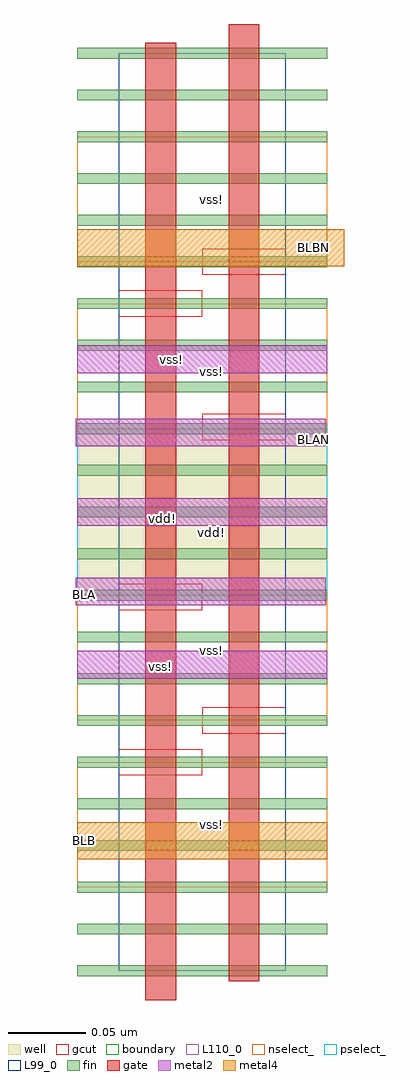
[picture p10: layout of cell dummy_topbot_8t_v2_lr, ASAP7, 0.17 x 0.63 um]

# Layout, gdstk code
import gdstk
lib = gdstk.Library(unit=1e-6, precision=2.5e-10)
def R(c, l, rs):  # rectangles x0, y0, x1, y1
    for r in rs: c.add(gdstk.rectangle(r[:2], r[2:], *l))
def A(c, l, x, y, w, h, nx, ny, dx, dy):  # array of equal rectangles
    R(c, l, [(x+i*dx, y+j*dy, x+i*dx+w, y+j*dy+h) for i in range(nx) for j in range(ny)])
well = (1, 0)
fin = (2, 0)
gate = (7, 0)
gcut = (10, 0)
nselect_ = (12, 0)
pselect_ = (13, 0)
metal2 = (20, 0)
metal4 = (40, 0)
L99_0 = (99, 0)
boundary = (100, 0)
L110_0 = (110, 0)

dummy_topbot_8t_v2_lr = lib.new_cell('dummy_topbot_8t_v2_lr')
R(dummy_topbot_8t_v2_lr, well, [(-0.027,0.081,0.135,0.189)])
A(dummy_topbot_8t_v2_lr, fin, -0.027, -0.1655, 0.162, 0.007, 1, 23, 0, 0.027)
R(dummy_topbot_8t_v2_lr, gate, [(0.017,-0.181,0.037,0.439), (0.071,-0.169,0.091,0.451)])
R(dummy_topbot_8t_v2_lr, gcut, [(0,-0.0355,0.054,-0.0185), (0.054,-0.0085,0.108,0.0085), (0,0.0715,0.054,0.0885), (0.054,0.1815,0.108,0.1985), (0,0.2615,0.054,0.2785), (0.054,0.2885,0.108,0.3055)])
R(dummy_topbot_8t_v2_lr, nselect_, [(-0.027,-0.108,0.135,-0.027), (-0.027,0,0.135,0.081), (-0.027,0.189,0.135,0.27), (-0.027,0.297,0.135,0.378)])
R(dummy_topbot_8t_v2_lr, pselect_, [(-0.027,0.081,0.135,0.189)])
A(dummy_topbot_8t_v2_lr, metal2, -0.027, 0.027, 0.162, 0.018, 1, 3, 0, 0.099)
R(dummy_topbot_8t_v2_lr, metal2, [(-0.028,0.0745,0.134,0.0925), (-0.028,0.1775,0.134,0.1955)])
R(dummy_topbot_8t_v2_lr, metal4, [(-0.027,-0.09,0.135,-0.066), (-0.027,0.294,0.146,0.318)])
R(dummy_topbot_8t_v2_lr, L99_0, [(0,-0.162,0.108,0.432)])
R(dummy_topbot_8t_v2_lr, boundary, [(0,-0.162,0.108,0.432)])
R(dummy_topbot_8t_v2_lr, L110_0, [(0,-0.162,0.108,0.432)])
dummy_topbot_8t_v2_lr.add(gdstk.Label('vss!', (0.027,0.035), layer=20, texttype=251))
dummy_topbot_8t_v2_lr.add(gdstk.Label('vss!', (0.034,0.234), layer=20, texttype=251))
dummy_topbot_8t_v2_lr.add(gdstk.Label('vdd!', (0.0285,0.1305), layer=20, texttype=251))
dummy_topbot_8t_v2_lr.add(gdstk.Label('BLA', (-0.022,0.0815), layer=20, texttype=251))
dummy_topbot_8t_v2_lr.add(gdstk.Label('BLAN', (0.126,0.182), layer=20, texttype=251))
dummy_topbot_8t_v2_lr.add(gdstk.Label('vdd!', (0.06,0.122), layer=1, texttype=251))
dummy_topbot_8t_v2_lr.add(gdstk.Label('vss!', (0.06,0.0455), layer=3, texttype=251))
dummy_topbot_8t_v2_lr.add(gdstk.Label('vss!', (0.06,0.226), layer=3, texttype=251))
dummy_topbot_8t_v2_lr.add(gdstk.Label('BLBN', (0.126,0.306), layer=40, texttype=251))
dummy_topbot_8t_v2_lr.add(gdstk.Label('BLB', (-0.022,-0.078), layer=40, texttype=251))
dummy_topbot_8t_v2_lr.add(gdstk.Label('vss!', (0.06,0.3375), layer=3, texttype=251))
dummy_topbot_8t_v2_lr.add(gdstk.Label('vss!', (0.06,-0.0675), layer=3, texttype=251))

lib.write_gds('dummy_topbot_8t_v2_lr.gds')
